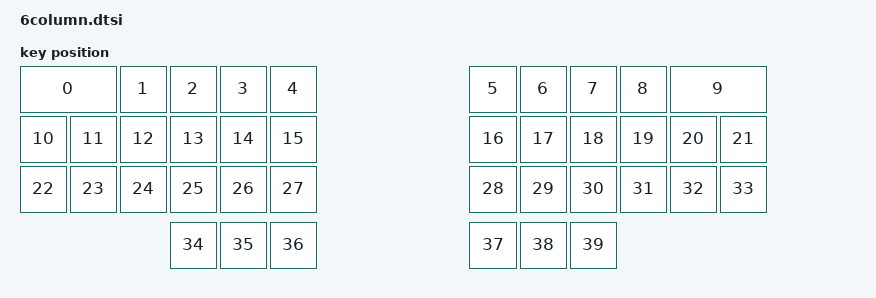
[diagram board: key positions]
/* IX Keyboard 専用にカスタマイズされた物理レイアウト定義 */
#include <layouts/corne_xiao/position_map.dtsi>
#include <physical_layouts.dtsi>

/ {
    corne_xiao_6col_layout: corne_xiao_6col_layout {
        compatible = "zmk,physical-layout";
        display-name = "IX Keyboard Layout";

        /* 単位は1/100キーサイズ (100 = 1u, 200 = 2u) */
        keys  //                     w   h    x    y     rot    rx    ry
            /* --- 最上段 (10 keys) --- */
            /* 左手: 2u(端) + 1u*4 */
            = <&key_physical_attrs 200 100    0    0       0     0     0> // 0: 左端2u
            , <&key_physical_attrs 100 100  200    0       0     0     0> // 1
            , <&key_physical_attrs 100 100  300    0       0     0     0> // 2
            , <&key_physical_attrs 100 100  400    0       0     0     0> // 3
            , <&key_physical_attrs 100 100  500    0       0     0     0> // 4
            /* 右手: 1u*4 + 2u(端) */
            , <&key_physical_attrs 100 100  900    0       0     0     0> // 5
            , <&key_physical_attrs 100 100 1000    0       0     0     0> // 6
            , <&key_physical_attrs 100 100 1100    0       0     0     0> // 7
            , <&key_physical_attrs 100 100 1200    0       0     0     0> // 8
            , <&key_physical_attrs 200 100 1300    0       0     0     0> // 9: 右端2u

            /* --- 中段 (12 keys) --- */
            /* 左手: 1u*6 */
            , <&key_physical_attrs 100 100    0  100       0     0     0> // 10
            , <&key_physical_attrs 100 100  100  100       0     0     0> // 11
            , <&key_physical_attrs 100 100  200  100       0     0     0> // 12
            , <&key_physical_attrs 100 100  300  100       0     0     0> // 13
            , <&key_physical_attrs 100 100  400  100       0     0     0> // 14
            , <&key_physical_attrs 100 100  500  100       0     0     0> // 15
            /* 右手: 1u*6 */
            , <&key_physical_attrs 100 100  900  100       0     0     0> // 16
            , <&key_physical_attrs 100 100 1000  100       0     0     0> // 17
            , <&key_physical_attrs 100 100 1100  100       0     0     0> // 18
            , <&key_physical_attrs 100 100 1200  100       0     0     0> // 19
            , <&key_physical_attrs 100 100 1300  100       0     0     0> // 20
            , <&key_physical_attrs 100 100 1400  100       0     0     0> // 21

            /* --- 下段 (12 keys) --- */
            /* 左手: 1u*6 */
            , <&key_physical_attrs 100 100    0  200       0     0     0> // 22
            , <&key_physical_attrs 100 100  100  200       0     0     0> // 23
            , <&key_physical_attrs 100 100  200  200       0     0     0> // 24
            , <&key_physical_attrs 100 100  300  200       0     0     0> // 25
            , <&key_physical_attrs 100 100  400  200       0     0     0> // 26
            , <&key_physical_attrs 100 100  500  200       0     0     0> // 27
            /* 右手: 1u*6 */
            , <&key_physical_attrs 100 100  900  200       0     0     0> // 28
            , <&key_physical_attrs 100 100 1000  200       0     0     0> // 29
            , <&key_physical_attrs 100 100 1100  200       0     0     0> // 30
            , <&key_physical_attrs 100 100 1200  200       0     0     0> // 31
            , <&key_physical_attrs 100 100 1300  200       0     0     0> // 32
            , <&key_physical_attrs 100 100 1400  200       0     0     0> // 33

            /* --- 親指 (6 keys) --- */
            /* 左手: 少し内側にオフセット */
            , <&key_physical_attrs 100 100  300  312       0     0     0> // 34
            , <&key_physical_attrs 100 100  400  312       0     0     0> // 35
            , <&key_physical_attrs 100 100  500  312       0     0     0> // 36
            /* 右手: 少し内側にオフセット */
            , <&key_physical_attrs 100 100  900  312       0     0     0> // 37
            , <&key_physical_attrs 100 100 1000  312       0     0     0> // 38
            , <&key_physical_attrs 100 100 1100  312       0     0     0> // 39
        ;
    };
};

/* キーマップ上の配置と物理レイアウトの紐付け */
&layouts_corne_xiao_position_map {
    corne_xiao_6col_posmap: six {
        physical-layout = <&corne_xiao_6col_layout>;
        positions
            = < 0  1  2  3  4        5  6  7  8  9 >
            , <10 11 12 13 14 15    16 17 18 19 20 21>
            , <22 23 24 25 26 27    28 29 30 31 32 33>
            , <      34 35 36          37 38 39      >;
    };
};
